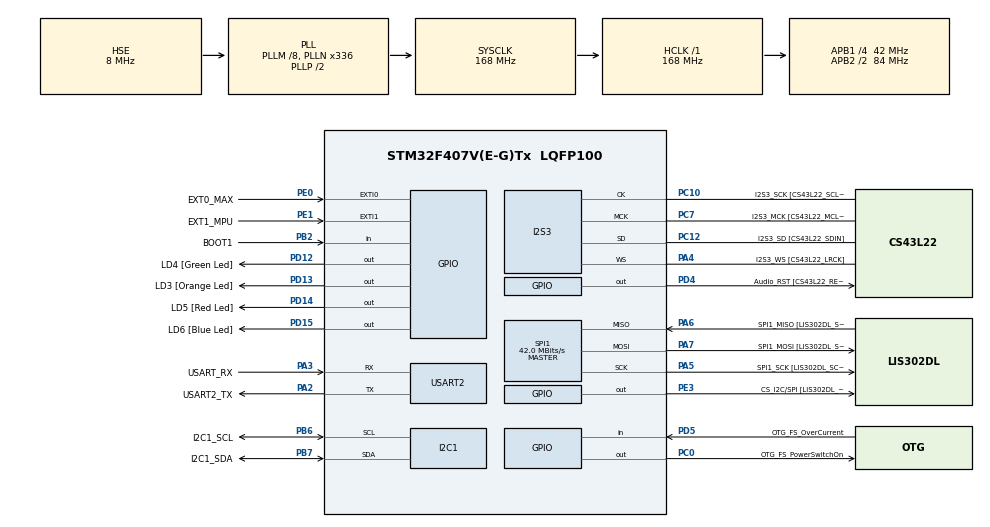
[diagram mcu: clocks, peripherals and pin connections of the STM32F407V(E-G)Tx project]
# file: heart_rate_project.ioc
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I2S3.AudioFreq-Half_Duplex_Master=I2S_AUDIOFREQ_96K
I2S3.ErrorAudioFreq=-2.34 %
I2S3.ErrorAudioFreq-Half_Duplex_Master=0.8 %
I2S3.FullDuplexMode=I2S_FULLDUPLEXMODE_DISABLE
I2S3.Instance=SPI$Index
I2S3.RealAudioFreq=93.75 KHz
I2S3.RealAudioFreq-Half_Duplex_Master=96.774 KHz
I2S3.VirtualMode=I2S_MODE_MASTER
Mcu.Family=STM32F4
Mcu.Name=STM32F407V(E-G)Tx
Mcu.Package=LQFP100
NVIC.EXTI0_IRQn=true\:10\:0\:true\:false\:true\:true\:true\:true
NVIC.EXTI1_IRQn=true\:10\:0\:true\:false\:true\:true\:true\:true
NVIC.PriorityGroup=NVIC_PRIORITYGROUP_4
NVIC.RCC_IRQn=true\:15\:0\:true\:false\:true\:true\:false\:true
NVIC.TIM2_IRQn=true\:5\:0\:true\:false\:true\:true\:true\:true
NVIC.USART2_IRQn=true\:0\:0\:false\:false\:true\:true\:true\:true
PA10.GPIO_Label=OTG_FS_ID
PA10.GPIO_Mode=GPIO_MODE_AF_PP
PA10.GPIO_PuPd=GPIO_NOPULL
PA10.GPIO_Speed=GPIO_SPEED_FREQ_LOW
PA10.Signal=USB_OTG_FS_ID
PA11.GPIO_Label=OTG_FS_DM
PA11.GPIO_Mode=GPIO_MODE_AF_PP
PA11.GPIO_PuPd=GPIO_NOPULL
PA11.GPIO_Speed=GPIO_SPEED_FREQ_LOW
PA11.Signal=USB_OTG_FS_DM
PA12.GPIO_Label=OTG_FS_DP
PA12.GPIO_Mode=GPIO_MODE_AF_PP
PA12.GPIO_PuPd=GPIO_NOPULL
PA12.GPIO_Speed=GPIO_SPEED_FREQ_LOW
PA12.Signal=USB_OTG_FS_DP
PA13.GPIO_Label=SWDIO
PA13.Mode=Serial_Wire
PA13.Signal=SYS_JTMS-SWDIO
PA14.GPIO_Label=SWCLK
PA14.Mode=Serial_Wire
PA14.Signal=SYS_JTCK-SWCLK
PA2.GPIO_Label=USART2_TX
PA2.Mode=Asynchronous
PA2.Signal=USART2_TX
PA3.GPIO_Label=USART_RX
PA3.GPIO_ModeDefaultPP=GPIO_MODE_AF_PP
PA3.Mode=Asynchronous
PA3.Signal=USART2_RX
PA4.GPIO_Label=I2S3_WS [CS43L22_LRCK]
PA4.GPIO_Mode=GPIO_MODE_AF_PP
PA4.GPIO_PuPd=GPIO_NOPULL
PA4.GPIO_Speed=GPIO_SPEED_FREQ_LOW
PA4.Mode=Half_Duplex_Master
PA4.Signal=I2S3_WS
PA5.GPIO_Label=SPI1_SCK [LIS302DL_SCL/SPC]
PA5.GPIO_Mode=GPIO_MODE_AF_PP
PA5.GPIO_PuPd=GPIO_NOPULL
PA5.GPIO_Speed=GPIO_SPEED_FREQ_LOW
PA5.Mode=Full_Duplex_Master
PA5.Signal=SPI1_SCK
PA6.GPIO_Label=SPI1_MISO [LIS302DL_SDO]
PA6.GPIO_Mode=GPIO_MODE_AF_PP
PA6.GPIO_PuPd=GPIO_NOPULL
PA6.GPIO_Speed=GPIO_SPEED_FREQ_LOW
PA6.Mode=Full_Duplex_Master
PA6.Signal=SPI1_MISO
PA7.GPIO_Label=SPI1_MOSI [LIS302DL_SDA/SDI/SDO]
PA7.GPIO_Mode=GPIO_MODE_AF_PP
PA7.GPIO_PuPd=GPIO_NOPULL
PA7.GPIO_Speed=GPIO_SPEED_FREQ_LOW
PA7.Mode=Full_Duplex_Master
PA7.Signal=SPI1_MOSI
PA9.GPIO_Label=VBUS_FS
PA9.GPIO_Mode=GPIO_MODE_INPUT
PA9.GPIO_PuPd=GPIO_NOPULL
PA9.Signal=USB_OTG_FS_VBUS
PB10.GPIO_Label=CLK_IN [MP45DT02_CLK]
PB10.GPIO_Mode=GPIO_MODE_AF_PP
PB10.GPIO_PuPd=GPIO_NOPULL
PB10.GPIO_Speed=GPIO_SPEED_FREQ_LOW
PB10.Signal=I2S2_CK
PB2.GPIO_Label=BOOT1
PB2.GPIO_Mode=GPIO_MODE_INPUT
PB2.GPIO_PuPd=GPIO_NOPULL
PB2.Signal=GPIO_Input
PB3.GPIO_Label=SWO
PB3.Signal=SYS_JTDO-SWO
PB6.GPIO_Label=I2C1_SCL
PB6.GPIO_Mode=GPIO_MODE_AF_OD
PB6.GPIO_Pu=GPIO_PULLUP
PB6.GPIO_Speed=GPIO_SPEED_FREQ_HIGH
PB6.Mode=I2C
PB6.Signal=I2C1_SCL
PB7.GPIO_Label=I2C1_SDA
PB7.GPIO_Mode=GPIO_MODE_AF_OD
PB7.GPIO_Pu=GPIO_PULLUP
PB7.GPIO_Speed=GPIO_SPEED_FREQ_HIGH
PB7.Mode=I2C
PB7.Signal=I2C1_SDA
PC0.GPIO_Label=OTG_FS_PowerSwitchOn
PC0.GPIO_PuPd=GPIO_NOPULL
PC0.GPIO_Speed=GPIO_SPEED_FREQ_LOW
PC0.PinState=GPIO_PIN_SET
PC0.Signal=GPIO_Output
PC10.GPIO_Label=I2S3_SCK [CS43L22_SCLK]
PC10.GPIO_Mode=GPIO_MODE_AF_PP
PC10.GPIO_PuPd=GPIO_NOPULL
PC10.GPIO_Speed=GPIO_SPEED_FREQ_LOW
PC10.Mode=Half_Duplex_Master
PC10.Signal=I2S3_CK
PC12.GPIO_Label=I2S3_SD [CS43L22_SDIN]
PC12.GPIO_Mode=GPIO_MODE_AF_PP
PC12.GPIO_PuPd=GPIO_NOPULL
PC12.GPIO_Speed=GPIO_SPEED_FREQ_LOW
PC12.Mode=Half_Duplex_Master
PC12.Signal=I2S3_SD
PC14-OSC32_IN.GPIO_Label=PC14-OSC32_IN
PC14-OSC32_IN.Signal=RCC_OSC32_IN
PC15-OSC32_OUT.GPIO_Label=PC15-OSC32_OUT
PC15-OSC32_OUT.Signal=RCC_OSC32_OUT
PC3.GPIO_Label=PDM_OUT [MP45DT02_DOUT]
PC3.GPIO_Mode=GPIO_MODE_AF_PP
PC3.GPIO_PuPd=GPIO_NOPULL
PC3.GPIO_Speed=GPIO_SPEED_FREQ_LOW
PC3.Signal=I2S2_SD
PC7.GPIO_Label=I2S3_MCK [CS43L22_MCLK]
PC7.GPIO_Mode=GPIO_MODE_AF_PP
PC7.GPIO_PuPd=GPIO_NOPULL
PC7.GPIO_Speed=GPIO_SPEED_FREQ_LOW
PC7.Mode=Master_Clock_Activated
PC7.Signal=I2S3_MCK
PD12.GPIO_Label=LD4 [Green Led]
PD12.GPIO_PuPd=GPIO_NOPULL
PD12.GPIO_Speed=GPIO_SPEED_FREQ_LOW
PD12.Signal=GPIO_Output
PD13.GPIO_Label=LD3 [Orange Led]
PD13.GPIO_PuPd=GPIO_NOPULL
PD13.GPIO_Speed=GPIO_SPEED_FREQ_LOW
PD13.Signal=GPIO_Output
PD14.GPIO_Label=LD5 [Red Led]
PD14.GPIO_PuPd=GPIO_NOPULL
PD14.GPIO_Speed=GPIO_SPEED_FREQ_LOW
PD14.Signal=GPIO_Output
PD15.GPIO_Label=LD6 [Blue Led]
PD15.GPIO_PuPd=GPIO_NOPULL
PD15.GPIO_Speed=GPIO_SPEED_FREQ_LOW
PD15.Signal=GPIO_Output
PD4.GPIO_Label=Audio_RST [CS43L22_RESET]
PD4.GPIO_PuPd=GPIO_NOPULL
PD4.GPIO_Speed=GPIO_SPEED_FREQ_LOW
PD4.Signal=GPIO_Output
PD5.GPIO_Label=OTG_FS_OverCurrent
PD5.GPIO_Mode=GPIO_MODE_INPUT
PD5.GPIO_PuPd=GPIO_NOPULL
PD5.Signal=GPIO_Input
PE0.GPIO_Label=EXT0_MAX
PE0.GPIO_ModeDefaultEXTI=GPIO_MODE_IT_FALLING
PE0.GPIO_PuPd=GPIO_NOPULL
PE0.Signal=GPXTI0
PE1.GPIO_Label=EXT1_MPU
PE1.GPIO_PuPd=GPIO_NOPULL
PE1.Signal=GPXTI1
PE3.GPIO_Label=CS_I2C/SPI [LIS302DL_CS_I2C/SPI]
PE3.GPIO_PuPd=GPIO_NOPULL
PE3.GPIO_Speed=GPIO_SPEED_FREQ_LOW
PE3.Signal=GPIO_Output
PH0-OSC_IN.GPIO_Label=PH0-OSC_IN
PH0-OSC_IN.Mode=HSE-External-Oscillator
PH0-OSC_IN.Signal=RCC_OSC_IN
PH1-OSC_OUT.GPIO_Label=PH1-OSC_OUT
PH1-OSC_OUT.Mode=HSE-External-Oscillator
PH1-OSC_OUT.Signal=RCC_OSC_OUT
ProjectManager.HeapSize=0x200
ProjectManager.StackSize=0x400
ProjectManager.TargetToolchain=STM32CubeIDE
RCC.48MHZClocksFreq_Value=48000000
RCC.AHBFreq_Value=168000000
RCC.APB1CLKDivider=RCC_HCLK_DIV4
RCC.APB1Freq_Value=42000000
RCC.APB1TimFreq_Value=84000000
RCC.APB2CLKDivider=RCC_HCLK_DIV2
RCC.APB2Freq_Value=84000000
RCC.APB2TimFreq_Value=168000000
RCC.CortexFreq_Value=168000000
RCC.HCLKFreq_Value=168000000
RCC.HSE_VALUE=8000000
RCC.HSI_VALUE=16000000
RCC.LSE_VALUE=32768
RCC.PLLM=8
RCC.PLLN=336
RCC.PLLQ=7
RCC.PLLSourceVirtual=RCC_PLLSOURCE_HSE
RCC.SYSCLKFreq_VALUE=168000000
RCC.SYSCLKSource=RCC_SYSCLKSOURCE_PLLCLK
RCC.VCOOutputFreq_Value=336000000
SPI1.BaudRatePrescaler-Full_Duplex_Master=SPI_BAUDRATEPRESCALER_2
SPI1.CalculateBaudRate=42.0 MBits/s
SPI1.CalculateBaudRate-Full_Duplex_Master=42.0 MBits/s
SPI1.Direction=SPI_DIRECTION_2LINES
SPI1.Mode=SPI_MODE_MASTER
SPI1.Mode-Full_Duplex_Master=SPI_MODE_MASTER
SPI1.VirtualType=VM_MASTER
TIM2.AutoReloadPreload=TIM_AUTORELOAD_PRELOAD_ENABLE
TIM2.Period=99
TIM2.Prescaler=8399
USART2.VirtualMode=VM_ASYNC
VP_TIM2_VS_ClockSourceINT.Mode=Internal
board=STM32F407G-DISC1

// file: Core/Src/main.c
/* USER CODE BEGIN Header */
/**
  ******************************************************************************
  * @file           : main.c
  * @brief          : Main program body
  ******************************************************************************
  * @attention
  *
  * Copyright (c) 2026 STMicroelectronics.
  * All rights reserved.
  *
  * This software is licensed under terms that can be found in the LICENSE file
  * in the root directory of this software component.
  * If no LICENSE file comes with this software, it is provided AS-IS.
  *
  ******************************************************************************
  */
/* USER CODE END Header */
#include "main.h"

/* USER CODE BEGIN Includes */
#include <stdint.h>
#include <string.h>
#include <stdio.h>
#include <math.h>

#include "lsm6ds3.h"
#include "max30102.h"
#include "blockc_data_preprocessing.h"
#include "blockd_motion_metric.h"
#include "blocke_nlms_anc.h"
#include "blockf_hr_estimation.h"
#include "blockg_sqi.h"
#include "blockh_decision_update.h"

/* USER CODE END Includes */

/* USER CODE BEGIN PTD */

//Sample acquisition state-machine
typedef enum
{
	ACQ_IDLE = 0,
	ACQ_READ_PPG,
	ACQ_READ_IMU,
	ACQ_COMMIT
} acq_state_t;

//States for valid & invalid samples in case of failure reading
typedef enum
{
	SAMPLE_VALID = 0,
	SAMPLE_INVALID = 1
} sample_status_t;

/* USER CODE END PTD */

/* USER CODE BEGIN PD */
#define RB_SIZE				         1024U

#define MAX_PENDING_ACQ              2U
#define MAX_CONSEC_FAILS             5U

#define UART_LOG_TIMEOUT_MS          50U
#define RECOVERY_RETRY_INTERVAL_MS   1000U

/* USER CODE END PD */

I2C_HandleTypeDef hi2c1;

I2S_HandleTypeDef hi2s3;

SPI_HandleTypeDef hspi1;

TIM_HandleTypeDef htim2;

UART_HandleTypeDef huart2;

/* USER CODE BEGIN PV */

/* ---------------- Shared scheduler variables ---------------- */
//GLOBAL VARIABLES for TIM2. It updates once the TIM2 increments
//and sets flag once interrupt occurs.
volatile uint32_t sample_idx = 0;      //global sampple index incremented every timer count
volatile uint32_t acquire_pending = 0; //pending acquire request

/* ---------------- Logical acquisition indexing ---------------- */
static uint32_t started_sample_idx = 0;
static uint32_t acq_sample_idx = 0; //latched index for current acquisiton cycle
static uint32_t commited_sample_idx = 0;

static uint32_t failed_acq_cnt = 0;

//For printing
uint32_t last_written_idx = 0;
uint8_t rb_has_data = 0;

//Acquisition state will first be idle and later be updated through the acquisition layer
static acq_state_t acq_state = ACQ_IDLE;

/* ---------------- Temporary sample staging ---------------- */
//For now, we will keep them as 32 and 16 bits respectively, but later might change.
static uint32_t ppg_ir_raw = 0;
static uint32_t ppg_red_raw = 0;

static int16_t imu_ax_raw = 0;
static int16_t imu_ay_raw = 0;
static int16_t imu_az_raw = 0;

/* ---------------- Ring buffers ---------------- */
uint32_t ppg_ir_rb[RB_SIZE];
static uint32_t ppg_red_rb[RB_SIZE];

int16_t imu_ax_rb[RB_SIZE];
int16_t imu_ay_rb[RB_SIZE];
int16_t imu_az_rb[RB_SIZE];

float imu_mag_rb[RB_SIZE];

uint32_t idx_rb[RB_SIZE];

sample_status_t sample_status_rb[RB_SIZE];

/* ---------------- Recovery ---------------- */
static uint32_t dropped_tick_cnt = 0;
static uint32_t consecutive_fail_cnt = 0;

static uint8_t acquisition_blocked = 0;
static uint32_t last_recovery_attempt_ms = 0;

/* USER CODE END PV */

void SystemClock_Config(void);
static void MX_GPIO_Init(void);
static void MX_I2C1_Init(void);
static void MX_I2S3_Init(void);
static void MX_SPI1_Init(void);
static void MX_TIM2_Init(void);
static void MX_USART2_UART_Init(void);
/* USER CODE BEGIN PFP */

/* ---------------- Function prototypes ---------------- */

static void BlockA_Acquire_Task(void);

static HAL_StatusTypeDef MAX_Read_Sample_Blocking(uint32_t *ir, uint32_t *red);
static HAL_StatusTypeDef LSM_Read_Sample_Blocking(int16_t *ax, int16_t *ay, int16_t *az);

static void Commit_Aligned_Sample(uint32_t idx, uint32_t ir,
		uint32_t red, int16_t ax, int16_t ay, int16_t az);

//Failure Function
static void Commit_Failed_Sample(uint32_t idx);

//Helper wrapper function for UART Logging
static void uart_log (const char *msg) {
	HAL_UART_Transmit(&huart2, (uint8_t *)msg, strlen(msg), UART_LOG_TIMEOUT_MS);
}

//Function for calculating IMU magnitude
static float imu_mag_approx(int16_t ax, int16_t ay, int16_t az);

//Function for recovering I2C Bus
static void Recover_I2C_Bus(void);

//Function for recovering I2C Bus & Sensors
static HAL_StatusTypeDef Recover_I2C_And_Sensors(void);

/* USER CODE END PFP */

int main(void)
{

  /* MCU Configuration--------------------------------------------------------*/

  /* Reset of all peripherals, Initializes the Flash interface and the Systick. */
  HAL_Init();

  /* Configure the system clock */
  SystemClock_Config();

  /* Initialize all configured peripherals */
  MX_GPIO_Init();
  MX_I2C1_Init();
  MX_I2S3_Init();
  MX_SPI1_Init();
  MX_TIM2_Init();
  MX_USART2_UART_Init();
  /* USER CODE BEGIN 2 */

  //Buffer for UART logging
  char msg[512];

  //For storing the part ID value
  uint8_t part_id = 0;

  uart_log("\r\n Program Begins...\r\n");
  uart_log("Start scanning for PART ID & Initializing Sensors...\r\n");

  //PART ID Scan and Initialization for MAX30102
  if(max30102_read_who_am_i(&hi2c1, &part_id) != HAL_OK){
	  uart_log("MAX30102 Failed Recognizing Part ID\r\n");
	  while(1);
  }

  snprintf(msg, sizeof(msg), "MAX30102 WHO AM I: 0x%02x\r\n", part_id);
  uart_log(msg);

  if(part_id != 0x15){
	  uart_log("MAX30102 Wrong Part ID Recognized.\r\n");
	  while(1);
  }

  if(max30102_init(&hi2c1) != HAL_OK){
	  uart_log("MAX30102 Initialization Failed!\r\n");
	  while(1);
  }

  uart_log("MAX30102 Initialization Complete!\r\n");

  //PART ID Scan and Initialization for LSM6DS3
  if(lsm6ds3_read_who_am_i(&hi2c1, &part_id) != HAL_OK){
	  uart_log("LSM6DS3 Failed Recognizing Part ID\r\n");
	  while(1);
  }

  snprintf(msg, sizeof(msg), "LSM6DS3 WHO AM I: 0x%02x\r\n", part_id);
  uart_log(msg);

  if(part_id != 0x6A){
	  uart_log("LSM6DS3 Wrong Part ID Recognized.\r\n");
	  while(1);
  }

  if(lsm6ds3_init(&hi2c1) != HAL_OK) {
	  uart_log("LSM6DS3 Initialization Failed!\r\n");
	  while(1);
  }

  uart_log("LSM6DS3 Initialization Complete!\r\n");

  //Start the timer.
  HAL_TIM_Base_Start_IT(&htim2);

  uart_log("I2C Scan Complete! \r\n");
  uint32_t last_printed = 0;

  /* USER CODE END 2 */

  /* Infinite loop */
  /* USER CODE BEGIN WHILE */
  while (1)
  {

	  BlockA_Acquire_Task();
	  BlockC_Data_Preprocessing();
	  BlockD_Motion_Metric();
	  BlockE_NLMS_ANC();
	  BlockF_HR_Estimation();
	  BlockG_SQI_Update();
	  BlockH_Decision_Update();

	  if(HAL_GetTick() - last_printed >= 1000) {

		  last_printed = HAL_GetTick();

		  if(rb_has_data) {

			  snprintf(msg, sizeof(msg),
			      "%.1f,%.2f,%lu,%.4f,"
			      "%.1f,%.2f,%.3f,%.2f,%lu,"
			      "%.1f,%.2f,%d,"
			      "%.2f,%.2f,%.2f,%u,%u,%u,"
			      "%.1f\r\n",

			      hr_time_result.hr_bpm,
			      hr_time_result.conf,
			      hr_time_result.n_peaks,
			      hr_time_result.ibi_var,

			      hr_fft_result.hr_bpm,
			      hr_fft_result.conf,
			      hr_fft_result.peak_hz,
			      hr_fft_result.peak_ratio,
			      hr_fft_result.k_peaks,

			      hr_final_result.hr_bpm,
			      hr_final_result.conf,
			      hr_final_result.mode,

			      sqi_result.s_motion,
			      sqi_result.s_time,
			      sqi_result.s_freq,
			      motion_state,
			      sqi_result.time_bad,
			      sqi_result.freq_bad,

			      latest_m
			  );

			  uart_log(msg);

		  }//end if2
	  }//end if1

    /* USER CODE END WHILE */

  }
}

void SystemClock_Config(void)
{
  RCC_OscInitTypeDef RCC_OscInitStruct = {0};
  RCC_ClkInitTypeDef RCC_ClkInitStruct = {0};

  /** Configure the main internal regulator output voltage
  */
  __HAL_RCC_PWR_CLK_ENABLE();
  __HAL_PWR_VOLTAGESCALING_CONFIG(PWR_REGULATOR_VOLTAGE_SCALE1);

  /** Initializes the RCC Oscillators according to the specified parameters
  * in the RCC_OscInitTypeDef structure.
  */
  RCC_OscInitStruct.OscillatorType = RCC_OSCILLATORTYPE_HSE;
  RCC_OscInitStruct.HSEState = RCC_HSE_ON;
  RCC_OscInitStruct.PLL.PLLState = RCC_PLL_ON;
  RCC_OscInitStruct.PLL.PLLSource = RCC_PLLSOURCE_HSE;
  RCC_OscInitStruct.PLL.PLLM = 8;
  RCC_OscInitStruct.PLL.PLLN = 336;
  RCC_OscInitStruct.PLL.PLLP = RCC_PLLP_DIV2;
  RCC_OscInitStruct.PLL.PLLQ = 7;
  if (HAL_RCC_OscConfig(&RCC_OscInitStruct) != HAL_OK)
  {
    Error_Handler();
  }

  /** Initializes the CPU, AHB and APB buses clocks
  */
  RCC_ClkInitStruct.ClockType = RCC_CLOCKTYPE_HCLK|RCC_CLOCKTYPE_SYSCLK
                              |RCC_CLOCKTYPE_PCLK1|RCC_CLOCKTYPE_PCLK2;
  RCC_ClkInitStruct.SYSCLKSource = RCC_SYSCLKSOURCE_PLLCLK;
  RCC_ClkInitStruct.AHBCLKDivider = RCC_SYSCLK_DIV1;
  RCC_ClkInitStruct.APB1CLKDivider = RCC_HCLK_DIV4;
  RCC_ClkInitStruct.APB2CLKDivider = RCC_HCLK_DIV2;

  if (HAL_RCC_ClockConfig(&RCC_ClkInitStruct, FLASH_LATENCY_5) != HAL_OK)
  {
    Error_Handler();
  }
}

static void MX_I2C1_Init(void)
{

  hi2c1.Instance = I2C1;
  hi2c1.Init.ClockSpeed = 100000;
  hi2c1.Init.DutyCycle = I2C_DUTYCYCLE_2;
  hi2c1.Init.OwnAddress1 = 0;
  hi2c1.Init.AddressingMode = I2C_ADDRESSINGMODE_7BIT;
  hi2c1.Init.DualAddressMode = I2C_DUALADDRESS_DISABLE;
  hi2c1.Init.OwnAddress2 = 0;
  hi2c1.Init.GeneralCallMode = I2C_GENERALCALL_DISABLE;
  hi2c1.Init.NoStretchMode = I2C_NOSTRETCH_DISABLE;
  if (HAL_I2C_Init(&hi2c1) != HAL_OK)
  {
    Error_Handler();
  }

}

static void MX_I2S3_Init(void)
{

  hi2s3.Instance = SPI3;
  hi2s3.Init.Mode = I2S_MODE_MASTER_TX;
  hi2s3.Init.Standard = I2S_STANDARD_PHILIPS;
  hi2s3.Init.DataFormat = I2S_DATAFORMAT_16B;
  hi2s3.Init.MCLKOutput = I2S_MCLKOUTPUT_ENABLE;
  hi2s3.Init.AudioFreq = I2S_AUDIOFREQ_96K;
  hi2s3.Init.CPOL = I2S_CPOL_LOW;
  hi2s3.Init.ClockSource = I2S_CLOCK_PLL;
  hi2s3.Init.FullDuplexMode = I2S_FULLDUPLEXMODE_DISABLE;
  if (HAL_I2S_Init(&hi2s3) != HAL_OK)
  {
    Error_Handler();
  }

}

static void MX_SPI1_Init(void)
{

  /* SPI1 parameter configuration*/
  hspi1.Instance = SPI1;
  hspi1.Init.Mode = SPI_MODE_MASTER;
  hspi1.Init.Direction = SPI_DIRECTION_2LINES;
  hspi1.Init.DataSize = SPI_DATASIZE_8BIT;
  hspi1.Init.CLKPolarity = SPI_POLARITY_LOW;
  hspi1.Init.CLKPhase = SPI_PHASE_1EDGE;
  hspi1.Init.NSS = SPI_NSS_SOFT;
  hspi1.Init.BaudRatePrescaler = SPI_BAUDRATEPRESCALER_2;
  hspi1.Init.FirstBit = SPI_FIRSTBIT_MSB;
  hspi1.Init.TIMode = SPI_TIMODE_DISABLE;
  hspi1.Init.CRCCalculation = SPI_CRCCALCULATION_DISABLE;
  hspi1.Init.CRCPolynomial = 10;
  if (HAL_SPI_Init(&hspi1) != HAL_OK)
  {
    Error_Handler();
  }

}

static void MX_TIM2_Init(void)
{

  TIM_ClockConfigTypeDef sClockSourceConfig = {0};
  TIM_MasterConfigTypeDef sMasterConfig = {0};

  htim2.Instance = TIM2;
  htim2.Init.Prescaler = 8399;
  htim2.Init.CounterMode = TIM_COUNTERMODE_UP;
  htim2.Init.Period = 99;
  htim2.Init.ClockDivision = TIM_CLOCKDIVISION_DIV1;
  htim2.Init.AutoReloadPreload = TIM_AUTORELOAD_PRELOAD_ENABLE;
  if (HAL_TIM_Base_Init(&htim2) != HAL_OK)
  {
    Error_Handler();
  }
  sClockSourceConfig.ClockSource = TIM_CLOCKSOURCE_INTERNAL;
  if (HAL_TIM_ConfigClockSource(&htim2, &sClockSourceConfig) != HAL_OK)
  {
    Error_Handler();
  }
  sMasterConfig.MasterOutputTrigger = TIM_TRGO_RESET;
  sMasterConfig.MasterSlaveMode = TIM_MASTERSLAVEMODE_DISABLE;
  if (HAL_TIMEx_MasterConfigSynchronization(&htim2, &sMasterConfig) != HAL_OK)
  {
    Error_Handler();
  }

}

static void MX_USART2_UART_Init(void)
{

  huart2.Instance = USART2;
  huart2.Init.BaudRate = 115200;
  huart2.Init.WordLength = UART_WORDLENGTH_8B;
  huart2.Init.StopBits = UART_STOPBITS_1;
  huart2.Init.Parity = UART_PARITY_NONE;
  huart2.Init.Mode = UART_MODE_TX_RX;
  huart2.Init.HwFlowCtl = UART_HWCONTROL_NONE;
  huart2.Init.OverSampling = UART_OVERSAMPLING_16;
  if (HAL_UART_Init(&huart2) != HAL_OK)
  {
    Error_Handler();
  }

}

static void MX_GPIO_Init(void)
{
  GPIO_InitTypeDef GPIO_InitStruct = {0};

  /* GPIO Ports Clock Enable */
  __HAL_RCC_GPIOE_CLK_ENABLE();
  __HAL_RCC_GPIOC_CLK_ENABLE();
  __HAL_RCC_GPIOH_CLK_ENABLE();
  __HAL_RCC_GPIOA_CLK_ENABLE();
  __HAL_RCC_GPIOB_CLK_ENABLE();
  __HAL_RCC_GPIOD_CLK_ENABLE();

  /*Configure GPIO pin Output Level */
  HAL_GPIO_WritePin(CS_I2C_SPI_GPIO_Port, CS_I2C_SPI_Pin, GPIO_PIN_RESET);

  /*Configure GPIO pin Output Level */
  HAL_GPIO_WritePin(OTG_FS_PowerSwitchOn_GPIO_Port, OTG_FS_PowerSwitchOn_Pin, GPIO_PIN_SET);

  /*Configure GPIO pin Output Level */
  HAL_GPIO_WritePin(GPIOD, LD4_Pin|LD3_Pin|LD5_Pin|LD6_Pin
                          |Audio_RST_Pin, GPIO_PIN_RESET);

  /*Configure GPIO pin : CS_I2C_SPI_Pin */
  GPIO_InitStruct.Pin = CS_I2C_SPI_Pin;
  GPIO_InitStruct.Mode = GPIO_MODE_OUTPUT_PP;
  GPIO_InitStruct.Pull = GPIO_NOPULL;
  GPIO_InitStruct.Speed = GPIO_SPEED_FREQ_LOW;
  HAL_GPIO_Init(CS_I2C_SPI_GPIO_Port, &GPIO_InitStruct);

  /*Configure GPIO pin : OTG_FS_PowerSwitchOn_Pin */
  GPIO_InitStruct.Pin = OTG_FS_PowerSwitchOn_Pin;
  GPIO_InitStruct.Mode = GPIO_MODE_OUTPUT_PP;
  GPIO_InitStruct.Pull = GPIO_NOPULL;
  GPIO_InitStruct.Speed = GPIO_SPEED_FREQ_LOW;
  HAL_GPIO_Init(OTG_FS_PowerSwitchOn_GPIO_Port, &GPIO_InitStruct);

  /*Configure GPIO pin : PDM_OUT_Pin */
  GPIO_InitStruct.Pin = PDM_OUT_Pin;
  GPIO_InitStruct.Mode = GPIO_MODE_AF_PP;
  GPIO_InitStruct.Pull = GPIO_NOPULL;
  GPIO_InitStruct.Speed = GPIO_SPEED_FREQ_LOW;
  GPIO_InitStruct.Alternate = GPIO_AF5_SPI2;
  HAL_GPIO_Init(PDM_OUT_GPIO_Port, &GPIO_InitStruct);

  /*Configure GPIO pin : BOOT1_Pin */
  GPIO_InitStruct.Pin = BOOT1_Pin;
  GPIO_InitStruct.Mode = GPIO_MODE_INPUT;
  GPIO_InitStruct.Pull = GPIO_NOPULL;
  HAL_GPIO_Init(BOOT1_GPIO_Port, &GPIO_InitStruct);

  /*Configure GPIO pin : CLK_IN_Pin */
  GPIO_InitStruct.Pin = CLK_IN_Pin;
  GPIO_InitStruct.Mode = GPIO_MODE_AF_PP;
  GPIO_InitStruct.Pull = GPIO_NOPULL;
  GPIO_InitStruct.Speed = GPIO_SPEED_FREQ_LOW;
  GPIO_InitStruct.Alternate = GPIO_AF5_SPI2;
  HAL_GPIO_Init(CLK_IN_GPIO_Port, &GPIO_InitStruct);

  /*Configure GPIO pins : LD4_Pin LD3_Pin LD5_Pin LD6_Pin
                           Audio_RST_Pin */
  GPIO_InitStruct.Pin = LD4_Pin|LD3_Pin|LD5_Pin|LD6_Pin
                          |Audio_RST_Pin;
  GPIO_InitStruct.Mode = GPIO_MODE_OUTPUT_PP;
  GPIO_InitStruct.Pull = GPIO_NOPULL;
  GPIO_InitStruct.Speed = GPIO_SPEED_FREQ_LOW;
  HAL_GPIO_Init(GPIOD, &GPIO_InitStruct);

  /*Configure GPIO pin : VBUS_FS_Pin */
  GPIO_InitStruct.Pin = VBUS_FS_Pin;
  GPIO_InitStruct.Mode = GPIO_MODE_INPUT;
  GPIO_InitStruct.Pull = GPIO_NOPULL;
  HAL_GPIO_Init(VBUS_FS_GPIO_Port, &GPIO_InitStruct);

  /*Configure GPIO pins : OTG_FS_ID_Pin OTG_FS_DM_Pin OTG_FS_DP_Pin */
  GPIO_InitStruct.Pin = OTG_FS_ID_Pin|OTG_FS_DM_Pin|OTG_FS_DP_Pin;
  GPIO_InitStruct.Mode = GPIO_MODE_AF_PP;
  GPIO_InitStruct.Pull = GPIO_NOPULL;
  GPIO_InitStruct.Speed = GPIO_SPEED_FREQ_LOW;
  GPIO_InitStruct.Alternate = GPIO_AF10_OTG_FS;
  HAL_GPIO_Init(GPIOA, &GPIO_InitStruct);

  /*Configure GPIO pin : OTG_FS_OverCurrent_Pin */
  GPIO_InitStruct.Pin = OTG_FS_OverCurrent_Pin;
  GPIO_InitStruct.Mode = GPIO_MODE_INPUT;
  GPIO_InitStruct.Pull = GPIO_NOPULL;
  HAL_GPIO_Init(OTG_FS_OverCurrent_GPIO_Port, &GPIO_InitStruct);

  /*Configure GPIO pin : EXT0_MAX_Pin */
  GPIO_InitStruct.Pin = EXT0_MAX_Pin;
  GPIO_InitStruct.Mode = GPIO_MODE_IT_FALLING;
  GPIO_InitStruct.Pull = GPIO_NOPULL;
  HAL_GPIO_Init(EXT0_MAX_GPIO_Port, &GPIO_InitStruct);

  /*Configure GPIO pin : EXT1_MPU_Pin */
  GPIO_InitStruct.Pin = EXT1_MPU_Pin;
  GPIO_InitStruct.Mode = GPIO_MODE_IT_RISING;
  GPIO_InitStruct.Pull = GPIO_NOPULL;
  HAL_GPIO_Init(EXT1_MPU_GPIO_Port, &GPIO_InitStruct);

  /* EXTI interrupt init*/
  HAL_NVIC_SetPriority(EXTI0_IRQn, 10, 0);
  HAL_NVIC_EnableIRQ(EXTI0_IRQn);

  HAL_NVIC_SetPriority(EXTI1_IRQn, 10, 0);
  HAL_NVIC_EnableIRQ(EXTI1_IRQn);

}

/* USER CODE BEGIN 4 */

/* ---------------- Callback function ---------------- */
void HAL_TIM_PeriodElapsedCallback(TIM_HandleTypeDef *htim)
{
    if (htim->Instance == TIM2)
    {
        sample_idx++;

        if(acquire_pending < MAX_PENDING_ACQ) {

        acquire_pending++;

        }
        else {
        	dropped_tick_cnt++;
        }

    }
}

/* ---------------- Block A for sample acquisition ---------------- */
static void BlockA_Acquire_Task(void) {

	if(acquisition_blocked){

		if(HAL_GetTick() - last_recovery_attempt_ms >= RECOVERY_RETRY_INTERVAL_MS){

			last_recovery_attempt_ms = HAL_GetTick();

			if(Recover_I2C_And_Sensors() == HAL_OK){

				acquisition_blocked = 0;

			}
		}

		return;

	}

	switch(acq_state) {

	case ACQ_IDLE:
	{
		uint8_t start_acq = 0;

		__disable_irq();
		if(acquire_pending > 0) {

			acquire_pending--;
			start_acq = 1;

		}//End if

		__enable_irq();

		if(start_acq){
			//Assign one logical sample index to this entire acquisition cycle
			started_sample_idx++;
			acq_sample_idx = started_sample_idx;

			acq_state = ACQ_READ_PPG;
		}

		break;
	}//End case

	case ACQ_READ_PPG:
	{
		if(MAX_Read_Sample_Blocking(&ppg_ir_raw, &ppg_red_raw) == HAL_OK) {

			acq_state = ACQ_READ_IMU;

		}//End if
		else {

			Commit_Failed_Sample(acq_sample_idx);
			consecutive_fail_cnt++;

			if(consecutive_fail_cnt >= MAX_CONSEC_FAILS){

				if(Recover_I2C_And_Sensors() != HAL_OK) {
					acquisition_blocked = 1;
					last_recovery_attempt_ms = HAL_GetTick();
					acq_state = ACQ_IDLE;
				}
			}
			else {
				acq_state = ACQ_IDLE;
			}

		}//End else
		break;
	}//End case

	case ACQ_READ_IMU:
	{

		if(LSM_Read_Sample_Blocking(&imu_ax_raw, &imu_ay_raw, &imu_az_raw) == HAL_OK) {

			acq_state = ACQ_COMMIT;

		}//End if
		else {

			Commit_Failed_Sample(acq_sample_idx);
			consecutive_fail_cnt++;

			if(consecutive_fail_cnt >= MAX_CONSEC_FAILS){

				if(Recover_I2C_And_Sensors() != HAL_OK) {
					acquisition_blocked = 1;
					last_recovery_attempt_ms = HAL_GetTick();
					acq_state = ACQ_IDLE;
				}
			}
			else {
				acq_state = ACQ_IDLE;
			}

		}//End else
		break;
	}//End case

	case ACQ_COMMIT:
	{

		Commit_Aligned_Sample(acq_sample_idx, ppg_ir_raw, ppg_red_raw,imu_ax_raw,
				imu_ay_raw, imu_az_raw);

		consecutive_fail_cnt = 0;
		acq_state = ACQ_IDLE;

		break;
	}//End case

	default:
	{
		acq_state = ACQ_IDLE;
		break;
	}//End default

	}//End switch

}//End function

/* ---------------- Functions for acquiring samples ---------------- */
static HAL_StatusTypeDef MAX_Read_Sample_Blocking(uint32_t *ir, uint32_t *red){

	max30102_sample_t ppg;
	HAL_StatusTypeDef st;

	if(ir == NULL || red == NULL) {
		return HAL_ERROR;
	}

	st = max30102_read_fifo(&hi2c1, &ppg);
	if(st != HAL_OK){
		return st;
	}

	*red = ppg.red;
	*ir = ppg.ir;

	return HAL_OK;
}
static HAL_StatusTypeDef LSM_Read_Sample_Blocking(int16_t *ax, int16_t *ay, int16_t *az){

	 lsm6ds3_vec3_raw_t acc;
	 HAL_StatusTypeDef st;

	 if(ax == NULL || ay == NULL || az == NULL){
		 return HAL_ERROR;
	 }

	 st = lsm6ds3_read_raw_acc(&hi2c1, &acc);
	 if(st != HAL_OK) {
		 return st;
	 }

	*ax = acc.x;
	*ay = acc.y;
	*az = acc.z;

	return HAL_OK;
}

static void Commit_Aligned_Sample(uint32_t idx, uint32_t ir,
		uint32_t red, int16_t ax, int16_t ay, int16_t az) {

	//For creating a ring buffer index that wraps around at RB_SIZE
	uint32_t w = idx % RB_SIZE;

	//Storing the data to the ring buffers with a corresponding index w in the order of
	//ppg, imu, and idx, respectively.
	ppg_red_rb[w] = red;
	ppg_ir_rb[w] = ir;

	imu_ax_rb[w] = ax;
	imu_ay_rb[w] = ay;
	imu_az_rb[w] = az;

	//Storing IMU MAG into ring buffer
	imu_mag_rb[w] = imu_mag_approx(ax, ay, az);

	idx_rb[w] = idx;

	last_written_idx = idx;
	rb_has_data = 1;

//For storing sample status
	sample_status_rb[w] = SAMPLE_VALID;

	commited_sample_idx++;
}

static void Commit_Failed_Sample(uint32_t idx) {

	uint32_t w = idx % RB_SIZE;

	idx_rb[w] = idx;

	//Stores "0" when data is invalid.
	ppg_red_rb[w] = 0;
	ppg_ir_rb[w] = 0;

	imu_ax_rb[w] = 0;
	imu_ay_rb[w] = 0;
	imu_az_rb[w] = 0;

	imu_mag_rb[w] = 0.0f;

	last_written_idx = idx;
	rb_has_data = 1;

	sample_status_rb[w] = SAMPLE_INVALID;

	failed_acq_cnt ++;
}

/* ---------------- Block B for IMU magnitude approximation ---------------- */

static float imu_mag_approx(int16_t ax, int16_t ay, int16_t az){

	return fabsf(ax) + fabsf(ay) + fabsf(az);

}

/* ---------------- Functions for I2C Recovery during failure ---------------- */

static void Recover_I2C_Bus(void){

	GPIO_InitTypeDef GPIO_InitStruct = {0};

	HAL_I2C_DeInit(&hi2c1);

	__HAL_RCC_I2C1_FORCE_RESET();
	HAL_Delay(1);
	__HAL_RCC_I2C1_RELEASE_RESET();
	HAL_Delay(1);

	__HAL_RCC_GPIOB_CLK_ENABLE();

	GPIO_InitStruct.Pin = GPIO_PIN_6 | GPIO_PIN_7;
	GPIO_InitStruct.Mode = GPIO_MODE_OUTPUT_OD;
	GPIO_InitStruct.Pull = GPIO_PULLUP;
	GPIO_InitStruct.Speed = GPIO_SPEED_FREQ_HIGH;
	HAL_GPIO_Init(GPIOB, &GPIO_InitStruct);

	HAL_GPIO_WritePin(GPIOB, GPIO_PIN_6, GPIO_PIN_SET);
	HAL_GPIO_WritePin(GPIOB, GPIO_PIN_7, GPIO_PIN_SET);
	HAL_Delay(1);

	for(int i = 0; i < 9; i++){

		HAL_GPIO_WritePin(GPIOB, GPIO_PIN_6, GPIO_PIN_RESET);
		HAL_Delay(1);
		HAL_GPIO_WritePin(GPIOB, GPIO_PIN_6, GPIO_PIN_SET);
		HAL_Delay(1);
	}

	HAL_GPIO_WritePin(GPIOB, GPIO_PIN_7, GPIO_PIN_RESET);
	HAL_Delay(1);
	HAL_GPIO_WritePin(GPIOB, GPIO_PIN_6, GPIO_PIN_SET);
	HAL_Delay(1);
	HAL_GPIO_WritePin(GPIOB, GPIO_PIN_7, GPIO_PIN_SET);
	HAL_Delay(1);

	GPIO_PinState scl = HAL_GPIO_ReadPin(GPIOB, GPIO_PIN_6);
	GPIO_PinState sda = HAL_GPIO_ReadPin(GPIOB, GPIO_PIN_7);

	if(scl == GPIO_PIN_RESET || sda == GPIO_PIN_RESET) {
		uart_log("I2C Bus still low after recovery! \r\n");
	}

	GPIO_InitStruct.Pin = GPIO_PIN_6 | GPIO_PIN_7;
	GPIO_InitStruct.Mode = GPIO_MODE_AF_OD;
	GPIO_InitStruct.Pull = GPIO_NOPULL;
	GPIO_InitStruct.Speed = GPIO_SPEED_FREQ_HIGH;
	GPIO_InitStruct.Alternate = GPIO_AF4_I2C1;
	HAL_GPIO_Init(GPIOB, &GPIO_InitStruct);

	MX_I2C1_Init();
}

static HAL_StatusTypeDef Recover_I2C_And_Sensors(void){

	uint8_t part_id = 0;

	char msg[256];

	HAL_TIM_Base_Stop_IT(&htim2);

	Recover_I2C_Bus();

	HAL_Delay(100);

	HAL_StatusTypeDef st;

	st = max30102_read_who_am_i(&hi2c1, &part_id);

	snprintf(msg, sizeof(msg), "MAXREC st:%d, id:0x%02x, err:0x%08lx, state:%d\r\n",
			st, part_id, HAL_I2C_GetError(&hi2c1), HAL_I2C_GetState(&hi2c1));
	uart_log(msg);

	if(st != HAL_OK || part_id != 0x15){
		uart_log("MAX30102 not present during Recovery!\r\n");
		acquire_pending = 0;
		acq_state = ACQ_IDLE;
		consecutive_fail_cnt = 0;
		acquisition_blocked = 1;
		return HAL_ERROR;
	}

	HAL_Delay(200);

	if(max30102_init(&hi2c1) != HAL_OK) {
		uart_log("MAX30102 Reinit failed!\r\n");
		acquire_pending = 0;
		acq_state = ACQ_IDLE;
		consecutive_fail_cnt = 0;
		acquisition_blocked = 1;
		return HAL_ERROR;
	}

	if(lsm6ds3_read_who_am_i(&hi2c1, &part_id) != HAL_OK || part_id != 0x6A){
		uart_log("LSM6DS3 not present during Recovery!\r\n");
		acquire_pending = 0;
		acq_state = ACQ_IDLE;
		consecutive_fail_cnt = 0;
		acquisition_blocked = 1;
		return HAL_ERROR;
	}

	HAL_Delay(200);

	if(lsm6ds3_init(&hi2c1) != HAL_OK) {
		uart_log("LSM6DS3 Reinit failed!\r\n");
		acquire_pending = 0;
		acq_state = ACQ_IDLE;
		consecutive_fail_cnt = 0;
		acquisition_blocked = 1;
		return HAL_ERROR;
	}

	acquire_pending = 0;
	acq_state = ACQ_IDLE;
	consecutive_fail_cnt = 0;

	__HAL_TIM_SET_COUNTER(&htim2, 0);
	__HAL_TIM_CLEAR_FLAG(&htim2, TIM_FLAG_UPDATE);

	if(HAL_TIM_Base_Start_IT(&htim2) != HAL_OK){
		uart_log("TIM2 Restart Failed!r\n");
		return HAL_ERROR;
	}

	uart_log("I2C & Sensors Recovery Executed!\r\n");

	return HAL_OK;
}

/* USER CODE END 4 */

void Error_Handler(void)
{
  __disable_irq();
  while (1)
  {
  }
}
